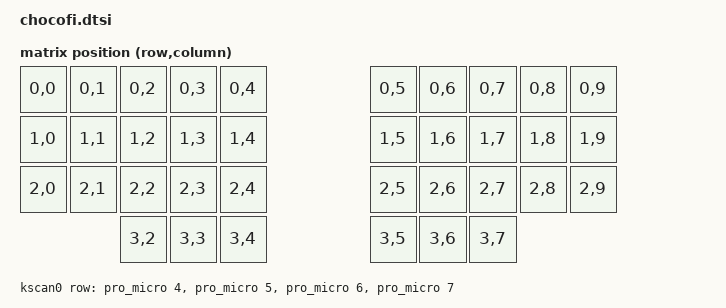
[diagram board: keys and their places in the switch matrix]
/*
 * Copyright (c) 2020 The ZMK Contributors
 *
 * SPDX-License-Identifier: MIT
 */

#include <dt-bindings/zmk/matrix_transform.h>
#include <physical_layouts.dtsi>

/ {
	chosen {
		zmk,kscan = &kscan0;
		zmk,physical-layout = &chocofi_layout;
	};

	default_transform: keymap_transform_0 {
		compatible = "zmk,matrix-transform";
		columns = <10>;
		rows = <4>;
// | SW1  | SW2  | SW3  | SW4  | SW5  |   | SW5  | SW4  | SW3  | SW2  | SW1  |
// | SW6  | SW7  | SW8  | SW9  | SW10 |   | SW10 | SW9  | SW8  | SW7  | SW6  |
// | SW11 | SW12 | SW13 | SW14 | SW15 |   | SW15 | SW14 | SW13 | SW12 | SW11 |
//               | SW16 | SW17 | SW18 |   | SW18 | SW17 | SW16 |
		map = <
RC(0,0) RC(0,1) RC(0,2) RC(0,3) RC(0,4)  RC(0,5) RC(0,6) RC(0,7) RC(0,8) RC(0,9)
RC(1,0) RC(1,1) RC(1,2) RC(1,3) RC(1,4)  RC(1,5) RC(1,6) RC(1,7) RC(1,8) RC(1,9)
RC(2,0) RC(2,1) RC(2,2) RC(2,3) RC(2,4)  RC(2,5) RC(2,6) RC(2,7) RC(2,8) RC(2,9)
                RC(3,2) RC(3,3) RC(3,4)  RC(3,5) RC(3,6) RC(3,7)
		>;
	};

	chocofi_layout: chocofi_layout {
		compatible = "zmk,physical-layout";
		display-name = "Chocofi";
		transform = <&default_transform>;
		kscan = <&kscan0>;

		// Chocofi 36-key layout (3x5 + 3 thumbs per side)
		// Standard 1u keys positioned in column-staggered layout
		keys
			// Row 0 (top row) - 5 keys left, 5 keys right
			= <&key_physical_attrs 100 100    0   0 0 0 0>
			, <&key_physical_attrs 100 100  100   0 0 0 0>
			, <&key_physical_attrs 100 100  200   0 0 0 0>
			, <&key_physical_attrs 100 100  300   0 0 0 0>
			, <&key_physical_attrs 100 100  400   0 0 0 0>
			, <&key_physical_attrs 100 100  700   0 0 0 0>
			, <&key_physical_attrs 100 100  800   0 0 0 0>
			, <&key_physical_attrs 100 100  900   0 0 0 0>
			, <&key_physical_attrs 100 100 1000   0 0 0 0>
			, <&key_physical_attrs 100 100 1100   0 0 0 0>
			// Row 1 (home row) - 5 keys left, 5 keys right
			, <&key_physical_attrs 100 100    0 100 0 0 0>
			, <&key_physical_attrs 100 100  100 100 0 0 0>
			, <&key_physical_attrs 100 100  200 100 0 0 0>
			, <&key_physical_attrs 100 100  300 100 0 0 0>
			, <&key_physical_attrs 100 100  400 100 0 0 0>
			, <&key_physical_attrs 100 100  700 100 0 0 0>
			, <&key_physical_attrs 100 100  800 100 0 0 0>
			, <&key_physical_attrs 100 100  900 100 0 0 0>
			, <&key_physical_attrs 100 100 1000 100 0 0 0>
			, <&key_physical_attrs 100 100 1100 100 0 0 0>
			// Row 2 (bottom row) - 5 keys left, 5 keys right
			, <&key_physical_attrs 100 100    0 200 0 0 0>
			, <&key_physical_attrs 100 100  100 200 0 0 0>
			, <&key_physical_attrs 100 100  200 200 0 0 0>
			, <&key_physical_attrs 100 100  300 200 0 0 0>
			, <&key_physical_attrs 100 100  400 200 0 0 0>
			, <&key_physical_attrs 100 100  700 200 0 0 0>
			, <&key_physical_attrs 100 100  800 200 0 0 0>
			, <&key_physical_attrs 100 100  900 200 0 0 0>
			, <&key_physical_attrs 100 100 1000 200 0 0 0>
			, <&key_physical_attrs 100 100 1100 200 0 0 0>
			// Thumb cluster - 3 keys left, 3 keys right
			, <&key_physical_attrs 100 100  200 300 0 0 0>
			, <&key_physical_attrs 100 100  300 300 0 0 0>
			, <&key_physical_attrs 100 100  400 300 0 0 0>
			, <&key_physical_attrs 100 100  700 300 0 0 0>
			, <&key_physical_attrs 100 100  800 300 0 0 0>
			, <&key_physical_attrs 100 100  900 300 0 0 0>
			;
	};

	kscan0: kscan {
		compatible = "zmk,kscan-gpio-matrix";
		wakeup-source;
		diode-direction = "col2row";
		row-gpios
			= <&pro_micro 4 (GPIO_ACTIVE_HIGH | GPIO_PULL_DOWN)>
			, <&pro_micro 5 (GPIO_ACTIVE_HIGH | GPIO_PULL_DOWN)>
			, <&pro_micro 6 (GPIO_ACTIVE_HIGH | GPIO_PULL_DOWN)>
			, <&pro_micro 7 (GPIO_ACTIVE_HIGH | GPIO_PULL_DOWN)>
			;
	};
};
